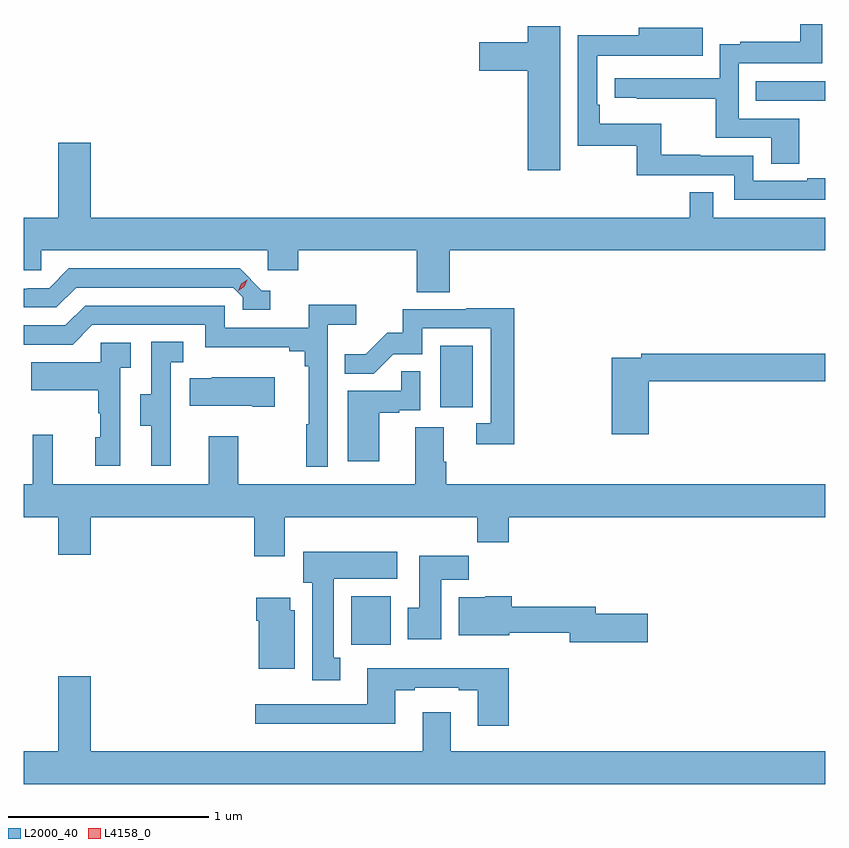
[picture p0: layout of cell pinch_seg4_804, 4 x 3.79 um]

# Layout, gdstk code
import gdstk
lib = gdstk.Library(unit=1e-6, precision=1e-09)
def R(c, l, rs):  # rectangles x0, y0, x1, y1
    for r in rs: c.add(gdstk.rectangle(r[:2], r[2:], *l))
def P(c, l, *ps):  # polygons
    for p in ps: c.add(gdstk.Polygon(p, *l))
L2000_40 = (2000, 40)
L4158_0 = (4158, 0)

pinch_seg4_804 = lib.new_cell('pinch_seg4_804')
R(pinch_seg4_804, L2000_40, [(813.824,797.516,814.021,797.758), (814.268,798.702,814.432,799.009), (815.845,800.232,816.19,800.328)])
P(pinch_seg4_804, L2000_40, [(816.061,800.142),(815.76,800.142),(815.76,800.418),(816.177,800.418),(816.177,800.615),(816.066,800.615),(816.066,800.527),(815.767,800.527),(815.767,800.515),(815.664,800.515),(815.664,800.343),(815.139,800.343),(815.139,800.247),(815.251,800.247),(815.251,800.242),(815.644,800.242),(815.644,800.046),(815.921,800.046),(815.921,799.918),(816.061,799.918)],
  [(814.867,800.605),(814.706,800.605),(814.706,800.523),(814.464,800.523),(814.464,800.381),(814.706,800.381),(814.706,799.884),(814.867,799.884)],
  [(816.19,799.846),(816.101,799.846),(816.101,799.833),(815.832,799.833),(815.832,799.956),(815.567,799.956),(815.567,799.961),(815.371,799.961),(815.371,800.116),(815.066,800.116),(815.066,800.212),(815.052,800.212),(815.052,800.457),(815.365,800.457),(815.365,800.456),(815.579,800.456),(815.579,800.596),(815.261,800.596),(815.261,800.558),(814.956,800.558),(814.956,800.007),(815.25,800.007),(815.25,799.86),(815.736,799.86),(815.736,799.737),(816.19,799.737)],
  [(814.316,799.484),(816.19,799.484),(816.19,799.648),(815.631,799.648),(815.631,799.775),(815.515,799.775),(815.515,799.648),(812.524,799.648),(812.524,800.023),(812.36,800.023),(812.36,799.648),(812.19,799.648),(812.19,799.386),(812.277,799.386),(812.277,799.484),(813.408,799.484),(813.408,799.386),(813.56,799.386),(813.56,799.484),(814.151,799.484),(814.151,799.276),(814.316,799.276)],
  [(813.421,799.284),(813.378,799.284),(813.267,799.395),(812.414,799.395),(812.315,799.296),(812.208,799.296),(812.208,799.293),(812.19,799.293),(812.19,799.2),(812.352,799.2),(812.451,799.299),(813.234,799.299),(813.282,799.251),(813.282,799.188),(813.421,799.188)],
  [(813.708,799.112),(813.85,799.112),(813.85,799.214),(813.611,799.214),(813.611,799.098),(813.192,799.098),(813.192,799.209),(812.495,799.209),(812.396,799.11),(812.19,799.11),(812.19,799.014),(812.433,799.014),(812.532,799.113),(813.096,799.113),(813.096,799.001),(813.515,799.001),(813.515,798.982),(813.592,798.982),(813.592,798.905),(813.611,798.905),(813.611,798.617),(813.6,798.617),(813.6,798.405),(813.708,798.405)],
  [(814.637,799.196),(814.399,799.196),(814.399,799.191),(814.081,799.191),(814.081,799.074),(814.004,799.074),(813.897,798.967),(813.793,798.967),(813.793,798.868),(813.937,798.868),(814.035,798.966),(814.179,798.966),(814.179,799.095),(814.521,799.095),(814.521,798.621),(814.449,798.621),(814.449,798.516),(814.637,798.516)],
  [(812.924,798.621),(812.922,798.621),(812.922,798.925),(812.986,798.925),(812.986,799.028),(812.826,799.028),(812.826,798.765),(812.771,798.765),(812.771,798.61),(812.825,798.61),(812.825,798.408),(812.924,798.408)],
  [(812.67,798.899),(812.722,798.899),(812.722,799.023),(812.574,799.023),(812.574,798.925),(812.227,798.925),(812.227,798.785),(812.562,798.785),(812.562,798.671),(812.572,798.671),(812.572,798.552),(812.546,798.552),(812.546,798.408),(812.67,798.408)],
  [(815.309,798.832),(816.19,798.832),(816.19,798.968),(815.272,798.968),(815.272,798.948),(815.126,798.948),(815.126,798.567),(815.309,798.567)],
  [(813.964,798.675),(814.064,798.675),(814.064,798.687),(814.17,798.687),(814.17,798.881),(814.075,798.881),(814.075,798.783),(813.806,798.783),(813.806,798.432),(813.964,798.432)],
  [(813.442,798.85),(813.127,798.85),(813.127,798.847),(813.019,798.847),(813.019,798.71),(813.329,798.71),(813.329,798.703),(813.442,798.703)],
  [(813.493,798.152),(814.453,798.152),(814.453,798.028),(814.61,798.028),(814.61,798.152),(816.19,798.152),(816.19,798.316),(814.298,798.316),(814.298,798.428),(814.285,798.428),(814.285,798.602),(814.145,798.602),(814.145,798.316),(813.261,798.316),(813.261,798.556),(813.113,798.556),(813.113,798.316),(812.333,798.316),(812.333,798.565),(812.235,798.565),(812.235,798.316),(812.19,798.316),(812.19,798.152),(812.36,798.152),(812.36,797.964),(812.524,797.964),(812.524,798.152),(813.341,798.152),(813.341,797.958),(813.493,797.958)],
  [(813.769,797.45),(813.736,797.45),(813.736,797.846),(814.054,797.846),(814.054,797.98),(813.584,797.98),(813.584,797.826),(813.629,797.826),(813.629,797.337),(813.769,797.337)],
  [(814.273,797.84),(814.412,797.84),(814.412,797.959),(814.163,797.959),(814.163,797.7),(814.106,797.7),(814.106,797.544),(814.273,797.544)],
  [(815.305,797.67),(815.044,797.67),(815.044,797.704),(814.625,797.704),(814.625,797.758),(814.494,797.758),(814.494,797.752),(814.361,797.752),(814.361,797.564),(814.612,797.564),(814.612,797.575),(814.916,797.575),(814.916,797.528),(815.305,797.528)],
  [(813.541,797.688),(813.52,797.688),(813.52,797.749),(813.35,797.749),(813.35,797.636),(813.362,797.636),(813.362,797.396),(813.541,797.396)],
  [(814.61,797.398),(813.905,797.398),(813.905,797.217),(813.345,797.217),(813.345,797.12),(814.045,797.12),(814.045,797.289),(814.141,797.289),(814.141,797.301),(814.361,797.301),(814.361,797.289),(814.457,797.289),(814.457,797.112),(814.61,797.112)],
  [(816.19,796.984),(814.321,796.984),(814.321,797.179),(814.181,797.179),(814.181,796.984),(812.524,796.984),(812.524,797.359),(812.36,797.359),(812.36,796.984),(812.19,796.984),(812.19,796.82),(816.19,796.82)])
P(pinch_seg4_804, L4158_0, [(813.259,799.284),(813.259,799.284),(813.275,799.317),(813.305,799.337),(813.305,799.337),(813.305,799.337),(813.29,799.304),(813.259,799.284)])

lib.write_gds('pinch_seg4_804.gds')
